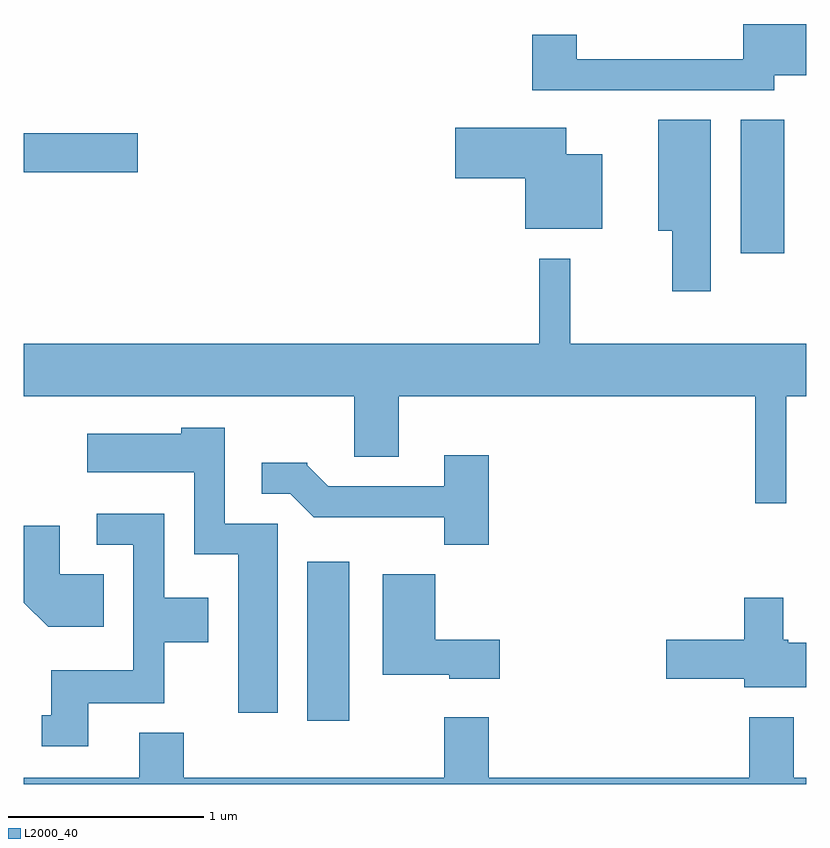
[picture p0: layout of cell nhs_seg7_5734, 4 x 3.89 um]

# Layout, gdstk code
import gdstk
lib = gdstk.Library(unit=1e-6, precision=1e-09)
def R(c, l, rs):  # rectangles x0, y0, x1, y1
    for r in rs: c.add(gdstk.rectangle(r[:2], r[2:], *l))
def P(c, l, *ps):  # polygons
    for p in ps: c.add(gdstk.Polygon(p, *l))
L2000_40 = (2000, 40)

nhs_seg7_5734 = lib.new_cell('nhs_seg7_5734')
R(nhs_seg7_5734, L2000_40, [(361.061,1792.576,361.274,1793.389), (363.276,1794.966,363.499,1795.649), (359.611,1795.381,360.194,1795.579)])
P(nhs_seg7_5734, L2000_40, [(363.449,1795.876),(363.611,1795.876),(363.611,1796.139),(363.291,1796.139),(363.291,1795.959),(362.439,1795.959),(362.439,1796.084),(362.211,1796.084),(362.211,1795.801),(363.449,1795.801)],
  [(363.124,1795.649),(362.856,1795.649),(362.856,1795.081),(362.926,1795.081),(362.926,1794.771),(363.124,1794.771)],
  [(362.569,1795.474),(362.384,1795.474),(362.384,1795.609),(361.816,1795.609),(361.816,1795.351),(362.176,1795.351),(362.176,1795.091),(362.569,1795.091)],
  [(363.509,1794.236),(363.611,1794.236),(363.611,1794.504),(362.404,1794.504),(362.404,1794.938),(362.246,1794.938),(362.246,1794.504),(359.611,1794.504),(359.611,1794.236),(361.301,1794.236),(361.301,1793.926),(361.529,1793.926),(361.529,1794.236),(363.351,1794.236),(363.351,1793.688),(363.509,1793.688)],
  [(360.909,1793.584),(360.639,1793.584),(360.639,1794.074),(360.416,1794.074),(360.416,1794.044),(359.936,1794.044),(359.936,1793.846),(360.481,1793.846),(360.481,1793.426),(360.706,1793.426),(360.706,1792.616),(360.909,1792.616)],
  [(361.989,1793.934),(361.761,1793.934),(361.761,1793.774),(361.167,1793.774),(361.06,1793.881),(361.06,1793.894),(360.828,1793.894),(360.828,1793.736),(360.974,1793.736),(361.094,1793.616),(361.761,1793.616),(361.761,1793.476),(361.989,1793.476)],
  [(359.939,1792.666),(360.329,1792.666),(360.329,1792.976),(360.554,1792.976),(360.554,1793.204),(360.329,1793.204),(360.329,1793.634),(359.983,1793.634),(359.983,1793.476),(360.171,1793.476),(360.171,1792.834),(359.751,1792.834),(359.751,1792.604),(359.703,1792.604),(359.703,1792.446),(359.939,1792.446)],
  [(360.019,1793.324),(359.794,1793.324),(359.794,1793.574),(359.611,1793.574),(359.611,1793.179),(359.734,1793.056),(360.019,1793.056)],
  [(362.044,1792.989),(361.714,1792.989),(361.714,1793.324),(361.446,1793.324),(361.446,1792.811),(361.786,1792.811),(361.786,1792.791),(362.044,1792.791)],
  [(363.611,1792.974),(363.52,1792.974),(363.52,1792.989),(363.494,1792.989),(363.494,1793.204),(363.296,1793.204),(363.296,1792.989),(362.896,1792.989),(362.896,1792.791),(363.296,1792.791),(363.296,1792.746),(363.611,1792.746)],
  [(363.611,1792.284),(363.549,1792.284),(363.549,1792.594),(363.321,1792.594),(363.321,1792.284),(361.989,1792.284),(361.989,1792.594),(361.761,1792.594),(361.761,1792.284),(360.429,1792.284),(360.429,1792.514),(360.201,1792.514),(360.201,1792.284),(359.611,1792.284),(359.611,1792.252),(363.611,1792.252)])

lib.write_gds('nhs_seg7_5734.gds')
